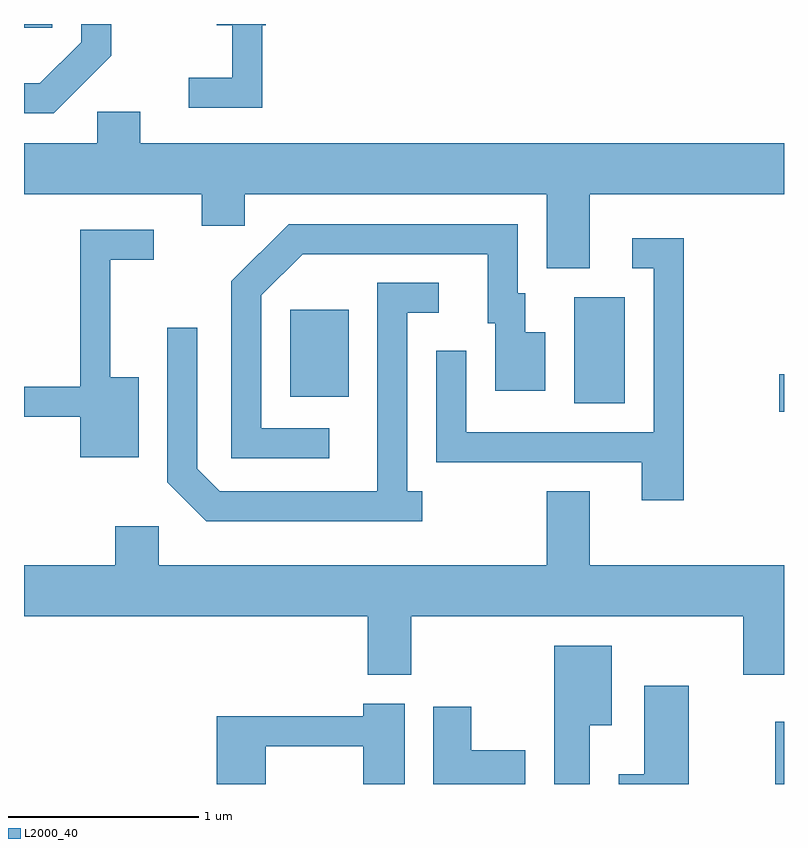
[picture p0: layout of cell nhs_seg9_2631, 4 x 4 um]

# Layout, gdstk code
import gdstk
lib = gdstk.Library(unit=1e-6, precision=1e-09)
def R(c, l, rs):  # rectangles x0, y0, x1, y1
    for r in rs: c.add(gdstk.rectangle(r[:2], r[2:], *l))
def P(c, l, *ps):  # polygons
    for p in ps: c.add(gdstk.Polygon(p, *l))
L2000_40 = (2000, 40)

nhs_seg9_2631 = lib.new_cell('nhs_seg9_2631')
R(nhs_seg9_2631, L2000_40, [(265.566,2046.432,265.611,2046.759), (265.586,2048.391,265.611,2048.589), (264.506,2048.436,264.774,2048.994), (263.011,2048.471,263.319,2048.929), (261.611,2050.411,261.759,2050.432)])
P(nhs_seg9_2631, L2000_40, [(262.864,2050.426),(262.884,2050.426),(262.884,2050.432),(262.626,2050.432),(262.626,2050.426),(262.706,2050.426),(262.706,2050.149),(262.478,2050.149),(262.478,2049.991),(262.864,2049.991)],
  [(262.069,2050.264),(262.069,2050.432),(261.911,2050.432),(261.911,2050.337),(261.694,2050.119),(261.611,2050.119),(261.611,2049.961),(261.767,2049.961)],
  [(264.589,2049.536),(265.611,2049.536),(265.611,2049.804),(262.224,2049.804),(262.224,2049.969),(261.996,2049.969),(261.996,2049.804),(261.611,2049.804),(261.611,2049.536),(262.546,2049.536),(262.546,2049.371),(262.774,2049.371),(262.774,2049.536),(264.361,2049.536),(264.361,2049.146),(264.589,2049.146)],
  [(263.218,2048.304),(262.859,2048.304),(262.859,2049.004),(263.077,2049.221),(264.051,2049.221),(264.051,2048.856),(264.091,2048.856),(264.091,2048.501),(264.354,2048.501),(264.354,2048.809),(264.249,2048.809),(264.249,2049.014),(264.209,2049.014),(264.209,2049.379),(263.004,2049.379),(262.701,2049.077),(262.701,2048.146),(263.218,2048.146)],
  [(262.214,2048.574),(262.064,2048.574),(262.064,2049.191),(262.293,2049.191),(262.293,2049.349),(261.906,2049.349),(261.906,2048.524),(261.611,2048.524),(261.611,2048.366),(261.906,2048.366),(261.906,2048.151),(262.214,2048.151)],
  [(265.084,2049.304),(264.813,2049.304),(264.813,2049.146),(264.926,2049.146),(264.926,2048.284),(263.939,2048.284),(263.939,2048.713),(263.781,2048.713),(263.781,2048.126),(264.861,2048.126),(264.861,2047.926),(265.084,2047.926)],
  [(263.708,2047.974),(263.629,2047.974),(263.629,2048.911),(263.793,2048.911),(263.793,2049.069),(263.471,2049.069),(263.471,2047.974),(262.642,2047.974),(262.524,2048.092),(262.524,2048.833),(262.366,2048.833),(262.366,2048.019),(262.569,2047.816),(263.708,2047.816)],
  [(263.649,2047.316),(265.396,2047.316),(265.396,2047.006),(265.611,2047.006),(265.611,2047.584),(264.589,2047.584),(264.589,2047.974),(264.361,2047.974),(264.361,2047.584),(262.319,2047.584),(262.319,2047.789),(262.091,2047.789),(262.091,2047.584),(261.611,2047.584),(261.611,2047.316),(263.421,2047.316),(263.421,2047.006),(263.649,2047.006)],
  [(264.589,2046.741),(264.704,2046.741),(264.704,2047.159),(264.401,2047.159),(264.401,2046.432),(264.589,2046.432)],
  [(265.109,2046.949),(264.876,2046.949),(264.876,2046.484),(264.741,2046.484),(264.741,2046.432),(265.109,2046.432)],
  [(262.884,2046.631),(263.396,2046.631),(263.396,2046.432),(263.614,2046.432),(263.614,2046.854),(263.396,2046.854),(263.396,2046.789),(262.626,2046.789),(262.626,2046.432),(262.884,2046.432)],
  [(264.249,2046.609),(263.964,2046.609),(263.964,2046.839),(263.766,2046.839),(263.766,2046.432),(264.249,2046.432)])

lib.write_gds('nhs_seg9_2631.gds')
